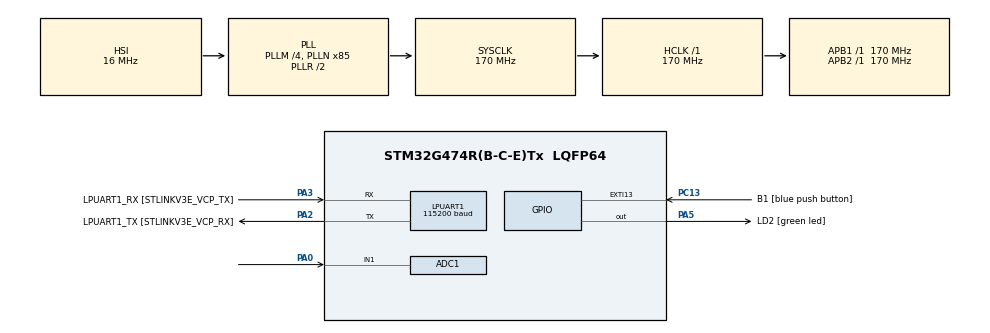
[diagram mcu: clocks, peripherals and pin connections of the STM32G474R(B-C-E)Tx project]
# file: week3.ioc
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ADC1.Channel-0\#ChannelRegularConversion=ADC_CHANNEL_1
ADC1.NbrOfConversionFlag=1
ADC1.OffsetNumber-0\#ChannelRegularConversion=ADC_OFFSET_NONE
ADC1.Rank-0\#ChannelRegularConversion=1
ADC1.SamplingTime-0\#ChannelRegularConversion=ADC_SAMPLETIME_2CYCLES_5
ADC1.master=1
LPUART1.BaudRate=115200
LPUART1.WordLength=UART_WORDLENGTH_8B
Mcu.Family=STM32G4
Mcu.Name=STM32G474R(B-C-E)Tx
Mcu.Package=LQFP64
NVIC.EXTI15_10_IRQn=true\:0\:0\:false\:false\:true\:true\:true\:true
NVIC.PriorityGroup=NVIC_PRIORITYGROUP_4
PA0.Mode=IN1-Single-Ended
PA0.Signal=ADC1_IN1
PA13.GPIO_Label=T_SWDIO
PA13.Mode=Serial_Wire
PA13.Signal=SYS_JTMS-SWDIO
PA14.GPIO_Label=T_SWCLK
PA14.Mode=Serial_Wire
PA14.Signal=SYS_JTCK-SWCLK
PA2.GPIO_Label=LPUART1_TX [STLINKV3E_VCP_RX]
PA2.Mode=Asynchronous
PA2.Signal=LPUART1_TX
PA3.GPIO_Label=LPUART1_RX [STLINKV3E_VCP_TX]
PA3.Mode=Asynchronous
PA3.Signal=LPUART1_RX
PA5.GPIO_Label=LD2 [green led]
PA5.Signal=GPIO_Output
PB3.GPIO_Label=T_SWO
PB3.Signal=SYS_JTDO-SWO
PC13.GPIO_Label=B1 [blue push button]
PC13.Signal=GPXTI13
PC14-OSC32_IN.Mode=LSE-External-Oscillator
PC14-OSC32_IN.Signal=RCC_OSC32_IN
PC15-OSC32_OUT.Mode=LSE-External-Oscillator
PC15-OSC32_OUT.Signal=RCC_OSC32_OUT
PF0-OSC_IN.Mode=HSE-External-Oscillator
PF0-OSC_IN.Signal=RCC_OSC_IN
PF1-OSC_OUT.Mode=HSE-External-Oscillator
PF1-OSC_OUT.Signal=RCC_OSC_OUT
ProjectManager.HeapSize=0x200
ProjectManager.StackSize=0x400
ProjectManager.TargetToolchain=STM32CubeIDE
RCC.ADC12Freq_Value=170000000
RCC.ADC345Freq_Value=170000000
RCC.AHBFreq_Value=170000000
RCC.APB1Freq_Value=170000000
RCC.APB1TimFreq_Value=170000000
RCC.APB2Freq_Value=170000000
RCC.APB2TimFreq_Value=170000000
RCC.CortexFreq_Value=170000000
RCC.EXTERNAL_CLOCK_VALUE=12288000
RCC.HCLKFreq_Value=170000000
RCC.HSE_VALUE=24000000
RCC.HSI48_VALUE=48000000
RCC.HSI_VALUE=16000000
RCC.PLLM=RCC_PLLM_DIV4
RCC.PLLN=85
RCC.RTCClockSelection=RCC_RTCCLKSOURCE_LSE
RCC.SYSCLKFreq_VALUE=170000000
RCC.SYSCLKSource=RCC_SYSCLKSOURCE_PLLCLK
RCC.USBFreq_Value=170000000
RCC.VCOOutputFreq_Value=340000000
VP_ADC1_TempSens_Input.Mode=IN-TempSens
VP_SYS_VS_DBSignals.Mode=DisableDeadBatterySignals
board=NUCLEO-G474RE

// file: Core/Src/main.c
/* USER CODE BEGIN Header */
/**
  ******************************************************************************
  * @file           : main.c
  * @brief          : Main program body
  ******************************************************************************
  * @attention
  *
  * Copyright (c) 2023 STMicroelectronics.
  * All rights reserved.
  *
  * This software is licensed under terms that can be found in the LICENSE file
  * in the root directory of this software component.
  * If no LICENSE file comes with this software, it is provided AS-IS.
  *
  ******************************************************************************
  */
/* USER CODE END Header */
#include "main.h"

ADC_HandleTypeDef hadc1;

UART_HandleTypeDef hlpuart1;

/* USER CODE BEGIN PV */
struct _ADC_tag
{
ADC_ChannelConfTypeDef Config;
uint16_t data;
};
struct _ADC_tag ADC1_Channel[2] =
{
{
.Config.Channel = ADC_CHANNEL_1,
.Config.Rank = ADC_REGULAR_RANK_1,
.Config.SamplingTime = ADC_SAMPLETIME_640CYCLES_5,
.Config.SingleDiff = ADC_SINGLE_ENDED,
.Config.OffsetNumber = ADC_OFFSET_NONE,
.Config.Offset = 0,
.data = 0
},
{
.Config.Channel = ADC_CHANNEL_TEMPSENSOR_ADC1,
.Config.Rank = ADC_REGULAR_RANK_1,
.Config.SamplingTime = ADC_SAMPLETIME_640CYCLES_5,
.Config.SingleDiff = ADC_SINGLE_ENDED,
.Config.OffsetNumber = ADC_OFFSET_NONE,
.Config.Offset = 0,
.data = 0
}
};

/* USER CODE END PV */

void SystemClock_Config(void);
static void MX_GPIO_Init(void);
static void MX_LPUART1_UART_Init(void);
static void MX_ADC1_Init(void);
/* USER CODE BEGIN PFP */
void ADC_Read_blocking();
/* USER CODE END PFP */

int main(void)
{

  /* MCU Configuration--------------------------------------------------------*/

  /* Reset of all peripherals, Initializes the Flash interface and the Systick. */
  HAL_Init();

  /* Configure the system clock */
  SystemClock_Config();

  /* Initialize all configured peripherals */
  MX_GPIO_Init();
  MX_LPUART1_UART_Init();
  MX_ADC1_Init();
  /* USER CODE BEGIN 2 */
  HAL_ADCEx_Calibration_Start(&hadc1, ADC_SINGLE_ENDED);
  /* USER CODE END 2 */

  /* Infinite loop */
  while (1)
  {

    /* USER CODE BEGIN 3 */
	 ADC_Read_blocking();
  }
  /* USER CODE END 3 */
}

void SystemClock_Config(void)
{
  RCC_OscInitTypeDef RCC_OscInitStruct = {0};
  RCC_ClkInitTypeDef RCC_ClkInitStruct = {0};

  /** Configure the main internal regulator output voltage
  */
  HAL_PWREx_ControlVoltageScaling(PWR_REGULATOR_VOLTAGE_SCALE1_BOOST);

  /** Initializes the RCC Oscillators according to the specified parameters
  * in the RCC_OscInitTypeDef structure.
  */
  RCC_OscInitStruct.OscillatorType = RCC_OSCILLATORTYPE_HSI;
  RCC_OscInitStruct.HSIState = RCC_HSI_ON;
  RCC_OscInitStruct.HSICalibrationValue = RCC_HSICALIBRATION_DEFAULT;
  RCC_OscInitStruct.PLL.PLLState = RCC_PLL_ON;
  RCC_OscInitStruct.PLL.PLLSource = RCC_PLLSOURCE_HSI;
  RCC_OscInitStruct.PLL.PLLM = RCC_PLLM_DIV4;
  RCC_OscInitStruct.PLL.PLLN = 85;
  RCC_OscInitStruct.PLL.PLLP = RCC_PLLP_DIV2;
  RCC_OscInitStruct.PLL.PLLQ = RCC_PLLQ_DIV2;
  RCC_OscInitStruct.PLL.PLLR = RCC_PLLR_DIV2;
  if (HAL_RCC_OscConfig(&RCC_OscInitStruct) != HAL_OK)
  {
    Error_Handler();
  }

  /** Initializes the CPU, AHB and APB buses clocks
  */
  RCC_ClkInitStruct.ClockType = RCC_CLOCKTYPE_HCLK|RCC_CLOCKTYPE_SYSCLK
                              |RCC_CLOCKTYPE_PCLK1|RCC_CLOCKTYPE_PCLK2;
  RCC_ClkInitStruct.SYSCLKSource = RCC_SYSCLKSOURCE_PLLCLK;
  RCC_ClkInitStruct.AHBCLKDivider = RCC_SYSCLK_DIV1;
  RCC_ClkInitStruct.APB1CLKDivider = RCC_HCLK_DIV1;
  RCC_ClkInitStruct.APB2CLKDivider = RCC_HCLK_DIV1;

  if (HAL_RCC_ClockConfig(&RCC_ClkInitStruct, FLASH_LATENCY_4) != HAL_OK)
  {
    Error_Handler();
  }
}

static void MX_ADC1_Init(void)
{

  ADC_MultiModeTypeDef multimode = {0};
  ADC_ChannelConfTypeDef sConfig = {0};

  /** Common config
  */
  hadc1.Instance = ADC1;
  hadc1.Init.ClockPrescaler = ADC_CLOCK_SYNC_PCLK_DIV4;
  hadc1.Init.Resolution = ADC_RESOLUTION_12B;
  hadc1.Init.DataAlign = ADC_DATAALIGN_RIGHT;
  hadc1.Init.GainCompensation = 0;
  hadc1.Init.ScanConvMode = ADC_SCAN_DISABLE;
  hadc1.Init.EOCSelection = ADC_EOC_SINGLE_CONV;
  hadc1.Init.LowPowerAutoWait = DISABLE;
  hadc1.Init.ContinuousConvMode = DISABLE;
  hadc1.Init.NbrOfConversion = 1;
  hadc1.Init.DiscontinuousConvMode = DISABLE;
  hadc1.Init.ExternalTrigConv = ADC_SOFTWARE_START;
  hadc1.Init.ExternalTrigConvEdge = ADC_EXTERNALTRIGCONVEDGE_NONE;
  hadc1.Init.DMAContinuousRequests = DISABLE;
  hadc1.Init.Overrun = ADC_OVR_DATA_PRESERVED;
  hadc1.Init.OversamplingMode = DISABLE;
  if (HAL_ADC_Init(&hadc1) != HAL_OK)
  {
    Error_Handler();
  }

  /** Configure the ADC multi-mode
  */
  multimode.Mode = ADC_MODE_INDEPENDENT;
  if (HAL_ADCEx_MultiModeConfigChannel(&hadc1, &multimode) != HAL_OK)
  {
    Error_Handler();
  }

  /** Configure Regular Channel
  */
  sConfig.Channel = ADC_CHANNEL_1;
  sConfig.Rank = ADC_REGULAR_RANK_1;
  sConfig.SamplingTime = ADC_SAMPLETIME_2CYCLES_5;
  sConfig.SingleDiff = ADC_SINGLE_ENDED;
  sConfig.OffsetNumber = ADC_OFFSET_NONE;
  sConfig.Offset = 0;
  if (HAL_ADC_ConfigChannel(&hadc1, &sConfig) != HAL_OK)
  {
    Error_Handler();
  }

}

static void MX_LPUART1_UART_Init(void)
{

  hlpuart1.Instance = LPUART1;
  hlpuart1.Init.BaudRate = 115200;
  hlpuart1.Init.WordLength = UART_WORDLENGTH_8B;
  hlpuart1.Init.StopBits = UART_STOPBITS_1;
  hlpuart1.Init.Parity = UART_PARITY_NONE;
  hlpuart1.Init.Mode = UART_MODE_TX_RX;
  hlpuart1.Init.HwFlowCtl = UART_HWCONTROL_NONE;
  hlpuart1.Init.OneBitSampling = UART_ONE_BIT_SAMPLE_DISABLE;
  hlpuart1.Init.ClockPrescaler = UART_PRESCALER_DIV1;
  hlpuart1.AdvancedInit.AdvFeatureInit = UART_ADVFEATURE_NO_INIT;
  if (HAL_UART_Init(&hlpuart1) != HAL_OK)
  {
    Error_Handler();
  }
  if (HAL_UARTEx_SetTxFifoThreshold(&hlpuart1, UART_TXFIFO_THRESHOLD_1_8) != HAL_OK)
  {
    Error_Handler();
  }
  if (HAL_UARTEx_SetRxFifoThreshold(&hlpuart1, UART_RXFIFO_THRESHOLD_1_8) != HAL_OK)
  {
    Error_Handler();
  }
  if (HAL_UARTEx_DisableFifoMode(&hlpuart1) != HAL_OK)
  {
    Error_Handler();
  }

}

static void MX_GPIO_Init(void)
{
  GPIO_InitTypeDef GPIO_InitStruct = {0};

  /* GPIO Ports Clock Enable */
  __HAL_RCC_GPIOC_CLK_ENABLE();
  __HAL_RCC_GPIOF_CLK_ENABLE();
  __HAL_RCC_GPIOA_CLK_ENABLE();
  __HAL_RCC_GPIOB_CLK_ENABLE();

  /*Configure GPIO pin Output Level */
  HAL_GPIO_WritePin(LD2_GPIO_Port, LD2_Pin, GPIO_PIN_RESET);

  /*Configure GPIO pin : B1_Pin */
  GPIO_InitStruct.Pin = B1_Pin;
  GPIO_InitStruct.Mode = GPIO_MODE_IT_RISING;
  GPIO_InitStruct.Pull = GPIO_NOPULL;
  HAL_GPIO_Init(B1_GPIO_Port, &GPIO_InitStruct);

  /*Configure GPIO pin : LD2_Pin */
  GPIO_InitStruct.Pin = LD2_Pin;
  GPIO_InitStruct.Mode = GPIO_MODE_OUTPUT_PP;
  GPIO_InitStruct.Pull = GPIO_NOPULL;
  GPIO_InitStruct.Speed = GPIO_SPEED_FREQ_LOW;
  HAL_GPIO_Init(LD2_GPIO_Port, &GPIO_InitStruct);

  /* EXTI interrupt init*/
  HAL_NVIC_SetPriority(EXTI15_10_IRQn, 0, 0);
  HAL_NVIC_EnableIRQ(EXTI15_10_IRQn);

}

/* USER CODE BEGIN 4 */
void ADC_Read_blocking()
{
static uint32_t TimeStamp = 0;
if( HAL_GetTick()<TimeStamp) return;
TimeStamp = HAL_GetTick()+500;
for(int i=0;i<2;i++)
{
HAL_ADC_ConfigChannel(&hadc1, &ADC1_Channel[i].Config);
HAL_ADC_Start(&hadc1);
HAL_ADC_PollForConversion(&hadc1, 100);
ADC1_Channel[i].data = HAL_ADC_GetValue(&hadc1);
HAL_ADC_Stop(&hadc1);
}
}
/* USER CODE END 4 */

void Error_Handler(void)
{
  __disable_irq();
  while (1)
  {
  }
}
